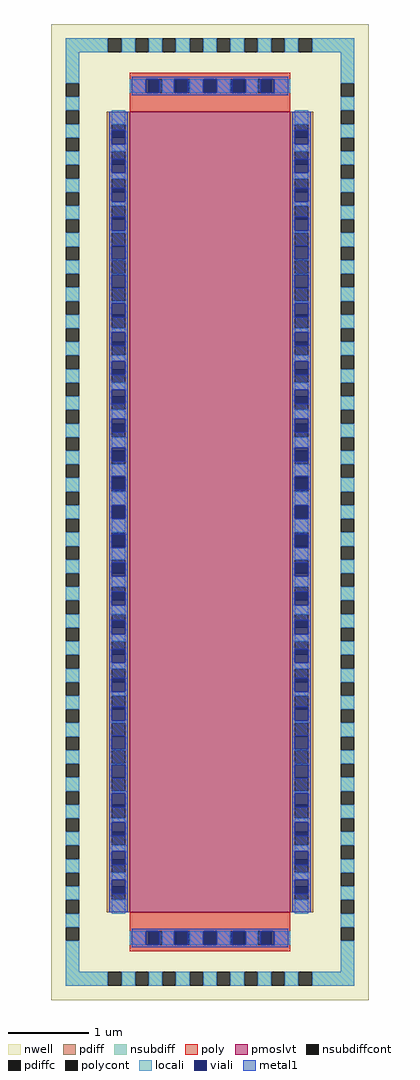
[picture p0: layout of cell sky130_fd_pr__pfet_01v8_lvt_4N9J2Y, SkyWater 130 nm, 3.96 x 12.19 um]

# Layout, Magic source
magic
tech sky130A
magscale 1 2
<< nwell >>
rect -396 -1219 396 1219
<< pmoslvt >>
rect -200 -1000 200 1000
<< pdiff >>
rect -258 969 -200 1000
rect -258 935 -246 969
rect -212 935 -200 969
rect -258 901 -200 935
rect -258 867 -246 901
rect -212 867 -200 901
rect -258 833 -200 867
rect -258 799 -246 833
rect -212 799 -200 833
rect -258 765 -200 799
rect -258 731 -246 765
rect -212 731 -200 765
rect -258 697 -200 731
rect -258 663 -246 697
rect -212 663 -200 697
rect -258 629 -200 663
rect -258 595 -246 629
rect -212 595 -200 629
rect -258 561 -200 595
rect -258 527 -246 561
rect -212 527 -200 561
rect -258 493 -200 527
rect -258 459 -246 493
rect -212 459 -200 493
rect -258 425 -200 459
rect -258 391 -246 425
rect -212 391 -200 425
rect -258 357 -200 391
rect -258 323 -246 357
rect -212 323 -200 357
rect -258 289 -200 323
rect -258 255 -246 289
rect -212 255 -200 289
rect -258 221 -200 255
rect -258 187 -246 221
rect -212 187 -200 221
rect -258 153 -200 187
rect -258 119 -246 153
rect -212 119 -200 153
rect -258 85 -200 119
rect -258 51 -246 85
rect -212 51 -200 85
rect -258 17 -200 51
rect -258 -17 -246 17
rect -212 -17 -200 17
rect -258 -51 -200 -17
rect -258 -85 -246 -51
rect -212 -85 -200 -51
rect -258 -119 -200 -85
rect -258 -153 -246 -119
rect -212 -153 -200 -119
rect -258 -187 -200 -153
rect -258 -221 -246 -187
rect -212 -221 -200 -187
rect -258 -255 -200 -221
rect -258 -289 -246 -255
rect -212 -289 -200 -255
rect -258 -323 -200 -289
rect -258 -357 -246 -323
rect -212 -357 -200 -323
rect -258 -391 -200 -357
rect -258 -425 -246 -391
rect -212 -425 -200 -391
rect -258 -459 -200 -425
rect -258 -493 -246 -459
rect -212 -493 -200 -459
rect -258 -527 -200 -493
rect -258 -561 -246 -527
rect -212 -561 -200 -527
rect -258 -595 -200 -561
rect -258 -629 -246 -595
rect -212 -629 -200 -595
rect -258 -663 -200 -629
rect -258 -697 -246 -663
rect -212 -697 -200 -663
rect -258 -731 -200 -697
rect -258 -765 -246 -731
rect -212 -765 -200 -731
rect -258 -799 -200 -765
rect -258 -833 -246 -799
rect -212 -833 -200 -799
rect -258 -867 -200 -833
rect -258 -901 -246 -867
rect -212 -901 -200 -867
rect -258 -935 -200 -901
rect -258 -969 -246 -935
rect -212 -969 -200 -935
rect -258 -1000 -200 -969
rect 200 969 258 1000
rect 200 935 212 969
rect 246 935 258 969
rect 200 901 258 935
rect 200 867 212 901
rect 246 867 258 901
rect 200 833 258 867
rect 200 799 212 833
rect 246 799 258 833
rect 200 765 258 799
rect 200 731 212 765
rect 246 731 258 765
rect 200 697 258 731
rect 200 663 212 697
rect 246 663 258 697
rect 200 629 258 663
rect 200 595 212 629
rect 246 595 258 629
rect 200 561 258 595
rect 200 527 212 561
rect 246 527 258 561
rect 200 493 258 527
rect 200 459 212 493
rect 246 459 258 493
rect 200 425 258 459
rect 200 391 212 425
rect 246 391 258 425
rect 200 357 258 391
rect 200 323 212 357
rect 246 323 258 357
rect 200 289 258 323
rect 200 255 212 289
rect 246 255 258 289
rect 200 221 258 255
rect 200 187 212 221
rect 246 187 258 221
rect 200 153 258 187
rect 200 119 212 153
rect 246 119 258 153
rect 200 85 258 119
rect 200 51 212 85
rect 246 51 258 85
rect 200 17 258 51
rect 200 -17 212 17
rect 246 -17 258 17
rect 200 -51 258 -17
rect 200 -85 212 -51
rect 246 -85 258 -51
rect 200 -119 258 -85
rect 200 -153 212 -119
rect 246 -153 258 -119
rect 200 -187 258 -153
rect 200 -221 212 -187
rect 246 -221 258 -187
rect 200 -255 258 -221
rect 200 -289 212 -255
rect 246 -289 258 -255
rect 200 -323 258 -289
rect 200 -357 212 -323
rect 246 -357 258 -323
rect 200 -391 258 -357
rect 200 -425 212 -391
rect 246 -425 258 -391
rect 200 -459 258 -425
rect 200 -493 212 -459
rect 246 -493 258 -459
rect 200 -527 258 -493
rect 200 -561 212 -527
rect 246 -561 258 -527
rect 200 -595 258 -561
rect 200 -629 212 -595
rect 246 -629 258 -595
rect 200 -663 258 -629
rect 200 -697 212 -663
rect 246 -697 258 -663
rect 200 -731 258 -697
rect 200 -765 212 -731
rect 246 -765 258 -731
rect 200 -799 258 -765
rect 200 -833 212 -799
rect 246 -833 258 -799
rect 200 -867 258 -833
rect 200 -901 212 -867
rect 246 -901 258 -867
rect 200 -935 258 -901
rect 200 -969 212 -935
rect 246 -969 258 -935
rect 200 -1000 258 -969
<< pdiffc >>
rect -246 935 -212 969
rect -246 867 -212 901
rect -246 799 -212 833
rect -246 731 -212 765
rect -246 663 -212 697
rect -246 595 -212 629
rect -246 527 -212 561
rect -246 459 -212 493
rect -246 391 -212 425
rect -246 323 -212 357
rect -246 255 -212 289
rect -246 187 -212 221
rect -246 119 -212 153
rect -246 51 -212 85
rect -246 -17 -212 17
rect -246 -85 -212 -51
rect -246 -153 -212 -119
rect -246 -221 -212 -187
rect -246 -289 -212 -255
rect -246 -357 -212 -323
rect -246 -425 -212 -391
rect -246 -493 -212 -459
rect -246 -561 -212 -527
rect -246 -629 -212 -595
rect -246 -697 -212 -663
rect -246 -765 -212 -731
rect -246 -833 -212 -799
rect -246 -901 -212 -867
rect -246 -969 -212 -935
rect 212 935 246 969
rect 212 867 246 901
rect 212 799 246 833
rect 212 731 246 765
rect 212 663 246 697
rect 212 595 246 629
rect 212 527 246 561
rect 212 459 246 493
rect 212 391 246 425
rect 212 323 246 357
rect 212 255 246 289
rect 212 187 246 221
rect 212 119 246 153
rect 212 51 246 85
rect 212 -17 246 17
rect 212 -85 246 -51
rect 212 -153 246 -119
rect 212 -221 246 -187
rect 212 -289 246 -255
rect 212 -357 246 -323
rect 212 -425 246 -391
rect 212 -493 246 -459
rect 212 -561 246 -527
rect 212 -629 246 -595
rect 212 -697 246 -663
rect 212 -765 246 -731
rect 212 -833 246 -799
rect 212 -901 246 -867
rect 212 -969 246 -935
<< nsubdiff >>
rect -360 1149 -255 1183
rect -221 1149 -187 1183
rect -153 1149 -119 1183
rect -85 1149 -51 1183
rect -17 1149 17 1183
rect 51 1149 85 1183
rect 119 1149 153 1183
rect 187 1149 221 1183
rect 255 1149 360 1183
rect -360 1071 -326 1149
rect -360 1003 -326 1037
rect 326 1071 360 1149
rect 326 1003 360 1037
rect -360 935 -326 969
rect -360 867 -326 901
rect -360 799 -326 833
rect -360 731 -326 765
rect -360 663 -326 697
rect -360 595 -326 629
rect -360 527 -326 561
rect -360 459 -326 493
rect -360 391 -326 425
rect -360 323 -326 357
rect -360 255 -326 289
rect -360 187 -326 221
rect -360 119 -326 153
rect -360 51 -326 85
rect -360 -17 -326 17
rect -360 -85 -326 -51
rect -360 -153 -326 -119
rect -360 -221 -326 -187
rect -360 -289 -326 -255
rect -360 -357 -326 -323
rect -360 -425 -326 -391
rect -360 -493 -326 -459
rect -360 -561 -326 -527
rect -360 -629 -326 -595
rect -360 -697 -326 -663
rect -360 -765 -326 -731
rect -360 -833 -326 -799
rect -360 -901 -326 -867
rect -360 -969 -326 -935
rect 326 935 360 969
rect 326 867 360 901
rect 326 799 360 833
rect 326 731 360 765
rect 326 663 360 697
rect 326 595 360 629
rect 326 527 360 561
rect 326 459 360 493
rect 326 391 360 425
rect 326 323 360 357
rect 326 255 360 289
rect 326 187 360 221
rect 326 119 360 153
rect 326 51 360 85
rect 326 -17 360 17
rect 326 -85 360 -51
rect 326 -153 360 -119
rect 326 -221 360 -187
rect 326 -289 360 -255
rect 326 -357 360 -323
rect 326 -425 360 -391
rect 326 -493 360 -459
rect 326 -561 360 -527
rect 326 -629 360 -595
rect 326 -697 360 -663
rect 326 -765 360 -731
rect 326 -833 360 -799
rect 326 -901 360 -867
rect 326 -969 360 -935
rect -360 -1037 -326 -1003
rect -360 -1149 -326 -1071
rect 326 -1037 360 -1003
rect 326 -1149 360 -1071
rect -360 -1183 -255 -1149
rect -221 -1183 -187 -1149
rect -153 -1183 -119 -1149
rect -85 -1183 -51 -1149
rect -17 -1183 17 -1149
rect 51 -1183 85 -1149
rect 119 -1183 153 -1149
rect 187 -1183 221 -1149
rect 255 -1183 360 -1149
<< nsubdiffcont >>
rect -255 1149 -221 1183
rect -187 1149 -153 1183
rect -119 1149 -85 1183
rect -51 1149 -17 1183
rect 17 1149 51 1183
rect 85 1149 119 1183
rect 153 1149 187 1183
rect 221 1149 255 1183
rect -360 1037 -326 1071
rect -360 969 -326 1003
rect 326 1037 360 1071
rect -360 901 -326 935
rect -360 833 -326 867
rect -360 765 -326 799
rect -360 697 -326 731
rect -360 629 -326 663
rect -360 561 -326 595
rect -360 493 -326 527
rect -360 425 -326 459
rect -360 357 -326 391
rect -360 289 -326 323
rect -360 221 -326 255
rect -360 153 -326 187
rect -360 85 -326 119
rect -360 17 -326 51
rect -360 -51 -326 -17
rect -360 -119 -326 -85
rect -360 -187 -326 -153
rect -360 -255 -326 -221
rect -360 -323 -326 -289
rect -360 -391 -326 -357
rect -360 -459 -326 -425
rect -360 -527 -326 -493
rect -360 -595 -326 -561
rect -360 -663 -326 -629
rect -360 -731 -326 -697
rect -360 -799 -326 -765
rect -360 -867 -326 -833
rect -360 -935 -326 -901
rect -360 -1003 -326 -969
rect 326 969 360 1003
rect 326 901 360 935
rect 326 833 360 867
rect 326 765 360 799
rect 326 697 360 731
rect 326 629 360 663
rect 326 561 360 595
rect 326 493 360 527
rect 326 425 360 459
rect 326 357 360 391
rect 326 289 360 323
rect 326 221 360 255
rect 326 153 360 187
rect 326 85 360 119
rect 326 17 360 51
rect 326 -51 360 -17
rect 326 -119 360 -85
rect 326 -187 360 -153
rect 326 -255 360 -221
rect 326 -323 360 -289
rect 326 -391 360 -357
rect 326 -459 360 -425
rect 326 -527 360 -493
rect 326 -595 360 -561
rect 326 -663 360 -629
rect 326 -731 360 -697
rect 326 -799 360 -765
rect 326 -867 360 -833
rect 326 -935 360 -901
rect -360 -1071 -326 -1037
rect 326 -1003 360 -969
rect 326 -1071 360 -1037
rect -255 -1183 -221 -1149
rect -187 -1183 -153 -1149
rect -119 -1183 -85 -1149
rect -51 -1183 -17 -1149
rect 17 -1183 51 -1149
rect 85 -1183 119 -1149
rect 153 -1183 187 -1149
rect 221 -1183 255 -1149
<< poly >>
rect -200 1081 200 1097
rect -200 1047 -153 1081
rect -119 1047 -85 1081
rect -51 1047 -17 1081
rect 17 1047 51 1081
rect 85 1047 119 1081
rect 153 1047 200 1081
rect -200 1000 200 1047
rect -200 -1047 200 -1000
rect -200 -1081 -153 -1047
rect -119 -1081 -85 -1047
rect -51 -1081 -17 -1047
rect 17 -1081 51 -1047
rect 85 -1081 119 -1047
rect 153 -1081 200 -1047
rect -200 -1097 200 -1081
<< polycont >>
rect -153 1047 -119 1081
rect -85 1047 -51 1081
rect -17 1047 17 1081
rect 51 1047 85 1081
rect 119 1047 153 1081
rect -153 -1081 -119 -1047
rect -85 -1081 -51 -1047
rect -17 -1081 17 -1047
rect 51 -1081 85 -1047
rect 119 -1081 153 -1047
<< locali >>
rect -360 1149 -255 1183
rect -221 1149 -187 1183
rect -153 1149 -119 1183
rect -85 1149 -51 1183
rect -17 1149 17 1183
rect 51 1149 85 1183
rect 119 1149 153 1183
rect 187 1149 221 1183
rect 255 1149 360 1183
rect -360 1071 -326 1149
rect -200 1047 -161 1081
rect -119 1047 -89 1081
rect -51 1047 -17 1081
rect 17 1047 51 1081
rect 89 1047 119 1081
rect 161 1047 200 1081
rect 326 1071 360 1149
rect -360 1003 -326 1037
rect -360 935 -326 969
rect -360 867 -326 901
rect -360 799 -326 833
rect -360 731 -326 765
rect -360 663 -326 697
rect -360 595 -326 629
rect -360 527 -326 561
rect -360 459 -326 493
rect -360 391 -326 425
rect -360 323 -326 357
rect -360 255 -326 289
rect -360 187 -326 221
rect -360 119 -326 153
rect -360 51 -326 85
rect -360 -17 -326 17
rect -360 -85 -326 -51
rect -360 -153 -326 -119
rect -360 -221 -326 -187
rect -360 -289 -326 -255
rect -360 -357 -326 -323
rect -360 -425 -326 -391
rect -360 -493 -326 -459
rect -360 -561 -326 -527
rect -360 -629 -326 -595
rect -360 -697 -326 -663
rect -360 -765 -326 -731
rect -360 -833 -326 -799
rect -360 -901 -326 -867
rect -360 -969 -326 -935
rect -360 -1037 -326 -1003
rect -246 969 -212 1004
rect -246 901 -212 919
rect -246 833 -212 847
rect -246 765 -212 775
rect -246 697 -212 703
rect -246 629 -212 631
rect -246 593 -212 595
rect -246 521 -212 527
rect -246 449 -212 459
rect -246 377 -212 391
rect -246 305 -212 323
rect -246 233 -212 255
rect -246 161 -212 187
rect -246 89 -212 119
rect -246 17 -212 51
rect -246 -51 -212 -17
rect -246 -119 -212 -89
rect -246 -187 -212 -161
rect -246 -255 -212 -233
rect -246 -323 -212 -305
rect -246 -391 -212 -377
rect -246 -459 -212 -449
rect -246 -527 -212 -521
rect -246 -595 -212 -593
rect -246 -631 -212 -629
rect -246 -703 -212 -697
rect -246 -775 -212 -765
rect -246 -847 -212 -833
rect -246 -919 -212 -901
rect -246 -1004 -212 -969
rect 212 969 246 1004
rect 212 901 246 919
rect 212 833 246 847
rect 212 765 246 775
rect 212 697 246 703
rect 212 629 246 631
rect 212 593 246 595
rect 212 521 246 527
rect 212 449 246 459
rect 212 377 246 391
rect 212 305 246 323
rect 212 233 246 255
rect 212 161 246 187
rect 212 89 246 119
rect 212 17 246 51
rect 212 -51 246 -17
rect 212 -119 246 -89
rect 212 -187 246 -161
rect 212 -255 246 -233
rect 212 -323 246 -305
rect 212 -391 246 -377
rect 212 -459 246 -449
rect 212 -527 246 -521
rect 212 -595 246 -593
rect 212 -631 246 -629
rect 212 -703 246 -697
rect 212 -775 246 -765
rect 212 -847 246 -833
rect 212 -919 246 -901
rect 212 -1004 246 -969
rect 326 1003 360 1037
rect 326 935 360 969
rect 326 867 360 901
rect 326 799 360 833
rect 326 731 360 765
rect 326 663 360 697
rect 326 595 360 629
rect 326 527 360 561
rect 326 459 360 493
rect 326 391 360 425
rect 326 323 360 357
rect 326 255 360 289
rect 326 187 360 221
rect 326 119 360 153
rect 326 51 360 85
rect 326 -17 360 17
rect 326 -85 360 -51
rect 326 -153 360 -119
rect 326 -221 360 -187
rect 326 -289 360 -255
rect 326 -357 360 -323
rect 326 -425 360 -391
rect 326 -493 360 -459
rect 326 -561 360 -527
rect 326 -629 360 -595
rect 326 -697 360 -663
rect 326 -765 360 -731
rect 326 -833 360 -799
rect 326 -901 360 -867
rect 326 -969 360 -935
rect 326 -1037 360 -1003
rect -360 -1149 -326 -1071
rect -200 -1081 -161 -1047
rect -119 -1081 -89 -1047
rect -51 -1081 -17 -1047
rect 17 -1081 51 -1047
rect 89 -1081 119 -1047
rect 161 -1081 200 -1047
rect 326 -1149 360 -1071
rect -360 -1183 -255 -1149
rect -221 -1183 -187 -1149
rect -153 -1183 -119 -1149
rect -85 -1183 -51 -1149
rect -17 -1183 17 -1149
rect 51 -1183 85 -1149
rect 119 -1183 153 -1149
rect 187 -1183 221 -1149
rect 255 -1183 360 -1149
<< viali >>
rect -161 1047 -153 1081
rect -153 1047 -127 1081
rect -89 1047 -85 1081
rect -85 1047 -55 1081
rect -17 1047 17 1081
rect 55 1047 85 1081
rect 85 1047 89 1081
rect 127 1047 153 1081
rect 153 1047 161 1081
rect -246 935 -212 953
rect -246 919 -212 935
rect -246 867 -212 881
rect -246 847 -212 867
rect -246 799 -212 809
rect -246 775 -212 799
rect -246 731 -212 737
rect -246 703 -212 731
rect -246 663 -212 665
rect -246 631 -212 663
rect -246 561 -212 593
rect -246 559 -212 561
rect -246 493 -212 521
rect -246 487 -212 493
rect -246 425 -212 449
rect -246 415 -212 425
rect -246 357 -212 377
rect -246 343 -212 357
rect -246 289 -212 305
rect -246 271 -212 289
rect -246 221 -212 233
rect -246 199 -212 221
rect -246 153 -212 161
rect -246 127 -212 153
rect -246 85 -212 89
rect -246 55 -212 85
rect -246 -17 -212 17
rect -246 -85 -212 -55
rect -246 -89 -212 -85
rect -246 -153 -212 -127
rect -246 -161 -212 -153
rect -246 -221 -212 -199
rect -246 -233 -212 -221
rect -246 -289 -212 -271
rect -246 -305 -212 -289
rect -246 -357 -212 -343
rect -246 -377 -212 -357
rect -246 -425 -212 -415
rect -246 -449 -212 -425
rect -246 -493 -212 -487
rect -246 -521 -212 -493
rect -246 -561 -212 -559
rect -246 -593 -212 -561
rect -246 -663 -212 -631
rect -246 -665 -212 -663
rect -246 -731 -212 -703
rect -246 -737 -212 -731
rect -246 -799 -212 -775
rect -246 -809 -212 -799
rect -246 -867 -212 -847
rect -246 -881 -212 -867
rect -246 -935 -212 -919
rect -246 -953 -212 -935
rect 212 935 246 953
rect 212 919 246 935
rect 212 867 246 881
rect 212 847 246 867
rect 212 799 246 809
rect 212 775 246 799
rect 212 731 246 737
rect 212 703 246 731
rect 212 663 246 665
rect 212 631 246 663
rect 212 561 246 593
rect 212 559 246 561
rect 212 493 246 521
rect 212 487 246 493
rect 212 425 246 449
rect 212 415 246 425
rect 212 357 246 377
rect 212 343 246 357
rect 212 289 246 305
rect 212 271 246 289
rect 212 221 246 233
rect 212 199 246 221
rect 212 153 246 161
rect 212 127 246 153
rect 212 85 246 89
rect 212 55 246 85
rect 212 -17 246 17
rect 212 -85 246 -55
rect 212 -89 246 -85
rect 212 -153 246 -127
rect 212 -161 246 -153
rect 212 -221 246 -199
rect 212 -233 246 -221
rect 212 -289 246 -271
rect 212 -305 246 -289
rect 212 -357 246 -343
rect 212 -377 246 -357
rect 212 -425 246 -415
rect 212 -449 246 -425
rect 212 -493 246 -487
rect 212 -521 246 -493
rect 212 -561 246 -559
rect 212 -593 246 -561
rect 212 -663 246 -631
rect 212 -665 246 -663
rect 212 -731 246 -703
rect 212 -737 246 -731
rect 212 -799 246 -775
rect 212 -809 246 -799
rect 212 -867 246 -847
rect 212 -881 246 -867
rect 212 -935 246 -919
rect 212 -953 246 -935
rect -161 -1081 -153 -1047
rect -153 -1081 -127 -1047
rect -89 -1081 -85 -1047
rect -85 -1081 -55 -1047
rect -17 -1081 17 -1047
rect 55 -1081 85 -1047
rect 85 -1081 89 -1047
rect 127 -1081 153 -1047
rect 153 -1081 161 -1047
<< metal1 >>
rect -196 1081 196 1087
rect -196 1047 -161 1081
rect -127 1047 -89 1081
rect -55 1047 -17 1081
rect 17 1047 55 1081
rect 89 1047 127 1081
rect 161 1047 196 1081
rect -196 1041 196 1047
rect -252 953 -206 1000
rect -252 919 -246 953
rect -212 919 -206 953
rect -252 881 -206 919
rect -252 847 -246 881
rect -212 847 -206 881
rect -252 809 -206 847
rect -252 775 -246 809
rect -212 775 -206 809
rect -252 737 -206 775
rect -252 703 -246 737
rect -212 703 -206 737
rect -252 665 -206 703
rect -252 631 -246 665
rect -212 631 -206 665
rect -252 593 -206 631
rect -252 559 -246 593
rect -212 559 -206 593
rect -252 521 -206 559
rect -252 487 -246 521
rect -212 487 -206 521
rect -252 449 -206 487
rect -252 415 -246 449
rect -212 415 -206 449
rect -252 377 -206 415
rect -252 343 -246 377
rect -212 343 -206 377
rect -252 305 -206 343
rect -252 271 -246 305
rect -212 271 -206 305
rect -252 233 -206 271
rect -252 199 -246 233
rect -212 199 -206 233
rect -252 161 -206 199
rect -252 127 -246 161
rect -212 127 -206 161
rect -252 89 -206 127
rect -252 55 -246 89
rect -212 55 -206 89
rect -252 17 -206 55
rect -252 -17 -246 17
rect -212 -17 -206 17
rect -252 -55 -206 -17
rect -252 -89 -246 -55
rect -212 -89 -206 -55
rect -252 -127 -206 -89
rect -252 -161 -246 -127
rect -212 -161 -206 -127
rect -252 -199 -206 -161
rect -252 -233 -246 -199
rect -212 -233 -206 -199
rect -252 -271 -206 -233
rect -252 -305 -246 -271
rect -212 -305 -206 -271
rect -252 -343 -206 -305
rect -252 -377 -246 -343
rect -212 -377 -206 -343
rect -252 -415 -206 -377
rect -252 -449 -246 -415
rect -212 -449 -206 -415
rect -252 -487 -206 -449
rect -252 -521 -246 -487
rect -212 -521 -206 -487
rect -252 -559 -206 -521
rect -252 -593 -246 -559
rect -212 -593 -206 -559
rect -252 -631 -206 -593
rect -252 -665 -246 -631
rect -212 -665 -206 -631
rect -252 -703 -206 -665
rect -252 -737 -246 -703
rect -212 -737 -206 -703
rect -252 -775 -206 -737
rect -252 -809 -246 -775
rect -212 -809 -206 -775
rect -252 -847 -206 -809
rect -252 -881 -246 -847
rect -212 -881 -206 -847
rect -252 -919 -206 -881
rect -252 -953 -246 -919
rect -212 -953 -206 -919
rect -252 -1000 -206 -953
rect 206 953 252 1000
rect 206 919 212 953
rect 246 919 252 953
rect 206 881 252 919
rect 206 847 212 881
rect 246 847 252 881
rect 206 809 252 847
rect 206 775 212 809
rect 246 775 252 809
rect 206 737 252 775
rect 206 703 212 737
rect 246 703 252 737
rect 206 665 252 703
rect 206 631 212 665
rect 246 631 252 665
rect 206 593 252 631
rect 206 559 212 593
rect 246 559 252 593
rect 206 521 252 559
rect 206 487 212 521
rect 246 487 252 521
rect 206 449 252 487
rect 206 415 212 449
rect 246 415 252 449
rect 206 377 252 415
rect 206 343 212 377
rect 246 343 252 377
rect 206 305 252 343
rect 206 271 212 305
rect 246 271 252 305
rect 206 233 252 271
rect 206 199 212 233
rect 246 199 252 233
rect 206 161 252 199
rect 206 127 212 161
rect 246 127 252 161
rect 206 89 252 127
rect 206 55 212 89
rect 246 55 252 89
rect 206 17 252 55
rect 206 -17 212 17
rect 246 -17 252 17
rect 206 -55 252 -17
rect 206 -89 212 -55
rect 246 -89 252 -55
rect 206 -127 252 -89
rect 206 -161 212 -127
rect 246 -161 252 -127
rect 206 -199 252 -161
rect 206 -233 212 -199
rect 246 -233 252 -199
rect 206 -271 252 -233
rect 206 -305 212 -271
rect 246 -305 252 -271
rect 206 -343 252 -305
rect 206 -377 212 -343
rect 246 -377 252 -343
rect 206 -415 252 -377
rect 206 -449 212 -415
rect 246 -449 252 -415
rect 206 -487 252 -449
rect 206 -521 212 -487
rect 246 -521 252 -487
rect 206 -559 252 -521
rect 206 -593 212 -559
rect 246 -593 252 -559
rect 206 -631 252 -593
rect 206 -665 212 -631
rect 246 -665 252 -631
rect 206 -703 252 -665
rect 206 -737 212 -703
rect 246 -737 252 -703
rect 206 -775 252 -737
rect 206 -809 212 -775
rect 246 -809 252 -775
rect 206 -847 252 -809
rect 206 -881 212 -847
rect 246 -881 252 -847
rect 206 -919 252 -881
rect 206 -953 212 -919
rect 246 -953 252 -919
rect 206 -1000 252 -953
rect -196 -1047 196 -1041
rect -196 -1081 -161 -1047
rect -127 -1081 -89 -1047
rect -55 -1081 -17 -1047
rect 17 -1081 55 -1047
rect 89 -1081 127 -1047
rect 161 -1081 196 -1047
rect -196 -1087 196 -1081
<< properties >>
string FIXED_BBOX -343 -1166 343 1166
<< end >>
